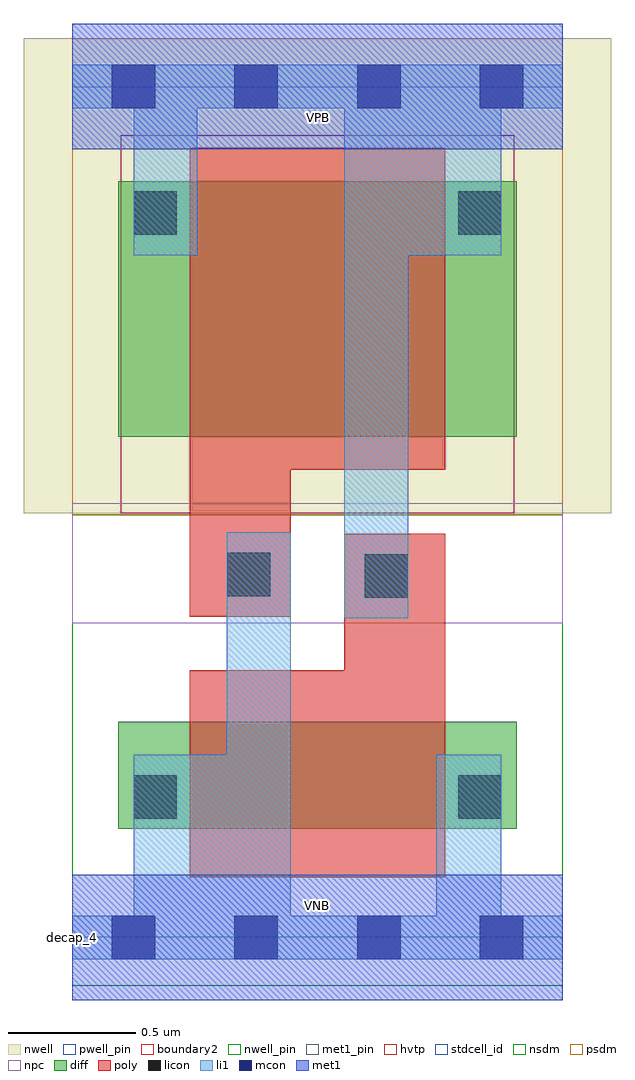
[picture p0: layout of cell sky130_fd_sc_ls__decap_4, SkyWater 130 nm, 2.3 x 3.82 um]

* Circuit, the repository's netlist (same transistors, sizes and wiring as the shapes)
* Copyright 2020 The SkyWater PDK Authors
*
* Licensed under the Apache License, Version 2.0 (the "License");
* you may not use this file except in compliance with the License.
* You may obtain a copy of the License at
*
*     https://www.apache.org/licenses/LICENSE-2.0
*
* Unless required by applicable law or agreed to in writing, software
* distributed under the License is distributed on an "AS IS" BASIS,
* WITHOUT WARRANTIES OR CONDITIONS OF ANY KIND, either express or implied.
* See the License for the specific language governing permissions and
* limitations under the License.
*
* SPDX-License-Identifier: Apache-2.0

.SUBCKT sky130_fd_sc_ls__decap_4 VGND VNB VPB VPWR
*.PININFO VGND:I VNB:I VPB:I VPWR:I
MI1 VGND VPWR VGND VNB sky130_fd_pr__nfet_01v8 m=1 w=0.42U l=1.0U mult=1 sa=0.265
+ sb=0.265 sd=0.28 area=0.063 perim=1.14
MI2 VPWR VGND VPWR VPB sky130_fd_pr__pfet_01v8_hvt m=1 w=1.0U l=1.0U mult=1 sa=0.265
+ sb=0.265 sd=0.28 area=0.063 perim=1.14
.ENDS sky130_fd_sc_ls__decap_4

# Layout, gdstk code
import gdstk
lib = gdstk.Library(unit=1e-6, precision=1e-09)
def R(c, l, rs):  # rectangles x0, y0, x1, y1
    for r in rs: c.add(gdstk.rectangle(r[:2], r[2:], *l))
def A(c, l, x, y, w, h, nx, ny, dx, dy):  # array of equal rectangles
    R(c, l, [(x+i*dx, y+j*dy, x+i*dx+w, y+j*dy+h) for i in range(nx) for j in range(ny)])
def P(c, l, *ps):  # polygons
    for p in ps: c.add(gdstk.Polygon(p, *l))
nwell_pin = (64, 16)
nwell = (64, 20)
diff = (65, 20)
poly = (66, 20)
licon = (66, 44)
li1 = (67, 20)
mcon = (67, 44)
met1_pin = (68, 16)
met1 = (68, 20)
hvtp = (78, 44)
stdcell_id = (81, 4)
nsdm = (93, 44)
psdm = (94, 20)
npc = (95, 20)
pwell_pin = (122, 16)
boundary2 = (236, 0)

sky130_fd_sc_ls__decap_4 = lib.new_cell('sky130_fd_sc_ls__decap_4')
R(sky130_fd_sc_ls__decap_4, nwell_pin, [(0,3.085,1.92,3.33)])
R(sky130_fd_sc_ls__decap_4, nwell, [(-0.19,1.66,2.11,3.52)])
R(sky130_fd_sc_ls__decap_4, diff, [(0.18,0.425,1.74,0.845), (0.18,1.96,1.74,2.96)])
P(sky130_fd_sc_ls__decap_4, poly, [(1.46,1.58),(1.065,1.58),(1.065,1.045),(0.46,1.045),(0.46,0.235),(1.46,0.235)],
  [(1.46,3.09),(0.46,3.09),(0.46,1.255),(0.855,1.255),(0.855,1.83),(1.46,1.83)])
R(sky130_fd_sc_ls__decap_4, licon, [(0.24,0.465,0.41,0.635), (1.51,0.465,1.68,0.635), (1.145,1.33,1.315,1.5), (0.605,1.335,0.775,1.505), (0.24,2.75,0.41,2.92), (1.51,2.75,1.68,2.92)])
P(sky130_fd_sc_ls__decap_4, li1, [(1.92,3.415),(0,3.415),(0,3.245),(0.24,3.245),(0.24,2.67),(0.49,2.67),(0.49,3.245),(1.065,3.245),(1.065,1.25),(1.315,1.25),(1.315,2.67),(1.68,2.67),(1.68,3.245),(1.92,3.245)],
  [(1.92,0.085),(1.68,0.085),(1.68,0.715),(1.425,0.715),(1.425,0.085),(0.855,0.085),(0.855,1.585),(0.605,1.585),(0.605,0.715),(0.24,0.715),(0.24,0.085),(0,0.085),(0,-0.085),(1.92,-0.085)])
A(sky130_fd_sc_ls__decap_4, mcon, 0.155, -0.085, 0.17, 0.17, 4, 2, 0.48, 3.33)
R(sky130_fd_sc_ls__decap_4, met1_pin, [(0,0,1.92,0.245), (0,3.085,1.92,3.33)])
R(sky130_fd_sc_ls__decap_4, met1, [(0,-0.245,1.92,0.245), (0,3.085,1.92,3.575)])
R(sky130_fd_sc_ls__decap_4, hvtp, [(0.19,1.66,1.73,3.14)])
R(sky130_fd_sc_ls__decap_4, stdcell_id, [(0,0,1.92,3.33)])
R(sky130_fd_sc_ls__decap_4, nsdm, [(0,-0.19,1.92,1.655)])
R(sky130_fd_sc_ls__decap_4, psdm, [(0,1.655,1.92,3.52)])
R(sky130_fd_sc_ls__decap_4, npc, [(0,1.23,1.92,1.7)])
R(sky130_fd_sc_ls__decap_4, pwell_pin, [(0,0,1.92,0.245)])
R(sky130_fd_sc_ls__decap_4, boundary2, [(0,0,1.92,3.33)])
sky130_fd_sc_ls__decap_4.add(gdstk.Label('decap_4', (0,0), layer=83, texttype=44))
sky130_fd_sc_ls__decap_4.add(gdstk.Label('VNB', (0.96,0.123), layer=64, texttype=59))
sky130_fd_sc_ls__decap_4.add(gdstk.Label('VPB', (0.965,3.208), layer=64, texttype=5))
sky130_fd_sc_ls__decap_4.add(gdstk.Label('VGND', (0.96,0.123), layer=68, texttype=5))
sky130_fd_sc_ls__decap_4.add(gdstk.Label('VPWR', (0.96,3.208), layer=68, texttype=5))

lib.write_gds('sky130_fd_sc_ls__decap_4.gds')
